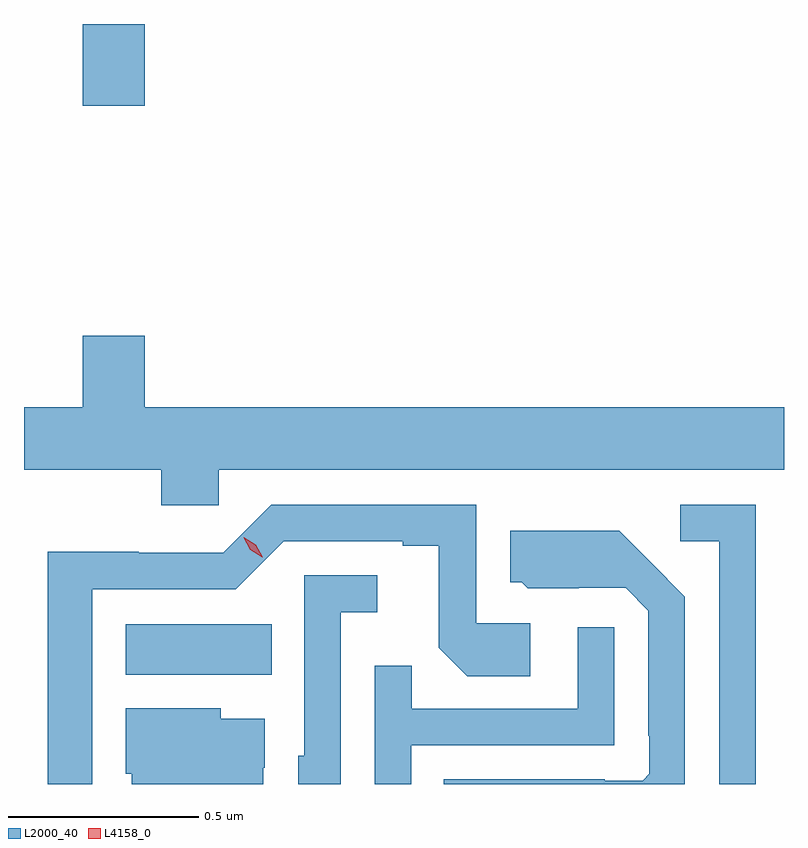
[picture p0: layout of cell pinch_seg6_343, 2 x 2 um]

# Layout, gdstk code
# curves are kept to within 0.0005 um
import gdstk
lib = gdstk.Library(unit=1e-6, precision=1e-09)
def R(c, l, rs):  # rectangles x0, y0, x1, y1
    for r in rs: c.add(gdstk.rectangle(r[:2], r[2:], *l))
def P(c, l, *ps):  # polygons
    for p in ps: c.add(gdstk.Polygon(p, *l))
L2000_40 = (2000, 40)
L4158_0 = (4158, 0)

pinch_seg6_343 = lib.new_cell('pinch_seg6_343')
R(pinch_seg6_343, L2000_40, [(728.558,938.804,728.942,938.938), (728.444,940.302,728.608,940.517)])
P(pinch_seg6_343, L2000_40, [(728.802,939.344),(730.29,939.344),(730.29,939.508),(728.608,939.508),(728.608,939.697),(728.444,939.697),(728.444,939.508),(728.29,939.508),(728.29,939.344),(728.651,939.344),(728.651,939.251),(728.802,939.251)],
  [(728.47,939.03),(728.847,939.03),(728.973,939.156),(729.287,939.156),(729.287,939.144),(729.381,939.144),(729.381,938.876),(729.457,938.8),(729.622,938.8),(729.622,938.94),(729.48,938.94),(729.48,939.252),(728.94,939.252),(728.814,939.126),(728.592,939.126),(728.592,939.128),(728.352,939.128),(728.352,938.517),(728.47,938.517)],
  [(730.215,939.252),(730.017,939.252),(730.017,939.156),(730.119,939.156),(730.119,938.517),(730.215,938.517)],
  [(730.029,939.01),(729.857,939.184),(729.569,939.184),(729.569,939.048),(729.6,939.048),(729.616,939.032),(729.75,939.032),(729.75,939.033),(729.873,939.033),(729.933,938.973),(729.933,938.644),(729.936,938.644),(729.936,938.544),(729.918,938.526),(729.818,938.526),(729.818,938.529),(729.394,938.529),(729.394,938.517),(730.029,938.517)],
  [(729.123,938.969),(729.22,938.969),(729.22,939.066),(729.027,939.066),(729.027,938.592),(729.012,938.592),(729.012,938.517),(729.123,938.517)],
  [(729.309,938.619),(729.843,938.619),(729.843,938.929),(729.747,938.929),(729.747,938.715),(729.311,938.715),(729.311,938.828),(729.213,938.828),(729.213,938.517),(729.309,938.517)],
  [(728.919,938.56),(728.923,938.56),(728.923,938.689),(728.808,938.689),(728.808,938.716),(728.558,938.716),(728.558,938.544),(728.574,938.544),(728.574,938.517),(728.919,938.517)])
P(pinch_seg6_343, L4158_0, [(728.917,939.114),(728.886,939.133),(728.868,939.165),(728.868,939.166),(728.868,939.166),(728.9,939.147),(728.918,939.114),(728.918,939.114)])

lib.write_gds('pinch_seg6_343.gds')
